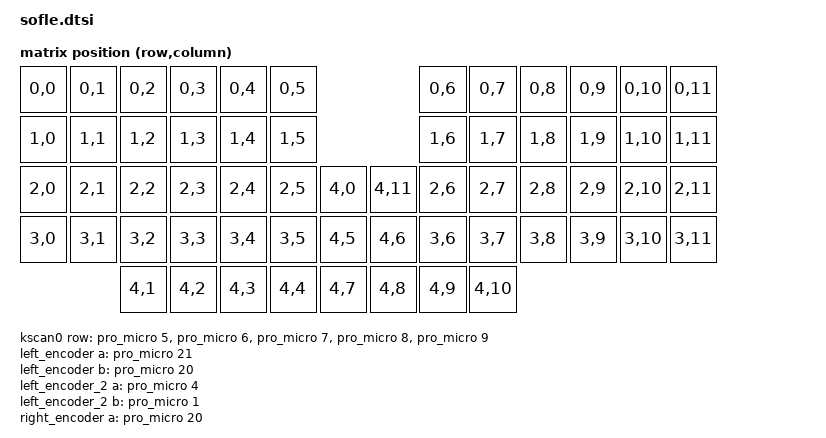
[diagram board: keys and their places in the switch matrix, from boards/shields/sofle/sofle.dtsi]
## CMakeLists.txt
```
cmake_minimum_required(VERSION 3.13.1)

set(CONFIG_APPLICATION_DEFINED_SYSCALL true)

# Add our custom Zephyr module for drivers w/ syscalls, etc.
list(APPEND DTS_ROOT ${CMAKE_SOURCE_DIR}/drivers/zephyr)

set(ZephyrBuildConfiguration_ROOT ${CMAKE_SOURCE_DIR}/cmake)

list(APPEND ZEPHYR_EXTRA_MODULES
  ${CMAKE_CURRENT_SOURCE_DIR}/drivers
)

# Find Zephyr. This also loads Zephyr's build system.
find_package(Zephyr REQUIRED HINTS ../zephyr)
project(zmk)

zephyr_linker_sources(RODATA include/linker/zmk-events.ld)

# Add your source file to the "app" target. This must come after
# find_package(Zephyr) which defines the target.
target_include_directories(app PRIVATE include)
target_sources(app PRIVATE src/stdlib.c)
target_sources(app PRIVATE src/activity.c)
target_sources(app PRIVATE src/kscan.c)
target_sources(app PRIVATE src/matrix_transform.c)
target_sources(app PRIVATE src/mouse/key_listener.c)
target_sources(app PRIVATE src/mouse/main.c)
target_sources(app PRIVATE src/mouse/tick_listener.c)
target_sources(app PRIVATE src/sensors.c)
target_sources_ifdef(CONFIG_ZMK_WPM app PRIVATE src/wpm.c)
target_sources(app PRIVATE src/event_manager.c)
target_sources_ifdef(CONFIG_ZMK_EXT_POWER app PRIVATE src/ext_power_generic.c)
target_sources(app PRIVATE src/events/activity_state_changed.c)
target_sources(app PRIVATE src/events/position_state_changed.c)
target_sources(app PRIVATE src/events/sensor_event.c)
target_sources(app PRIVATE src/events/mouse_button_state_changed.c)
target_sources(app PRIVATE src/events/mouse_move_state_changed.c)
target_sources(app PRIVATE src/events/mouse_tick.c)
target_sources(app PRIVATE src/events/mouse_scroll_state_changed.c)
target_sources_ifdef(CONFIG_ZMK_WPM app PRIVATE src/events/wpm_state_changed.c)
target_sources_ifdef(CONFIG_USB_DEVICE_STACK app PRIVATE src/events/usb_conn_state_changed.c)
target_sources(app PRIVATE src/behaviors/behavior_reset.c)
target_sources_ifdef(CONFIG_ZMK_EXT_POWER app PRIVATE src/behaviors/behavior_ext_power.c)
if ((NOT CONFIG_ZMK_SPLIT) OR CONFIG_ZMK_SPLIT_ROLE_CENTRAL)
  target_sources(app PRIVATE src/hid.c)
  target_sources(app PRIVATE src/behaviors/behavior_key_press.c)
  target_sources_ifdef(CONFIG_ZMK_BEHAVIOR_KEY_TOGGLE app PRIVATE src/behaviors/behavior_key_toggle.c)
  target_sources(app PRIVATE src/behaviors/behavior_hold_tap.c)
  target_sources(app PRIVATE src/behaviors/behavior_sticky_key.c)
  target_sources(app PRIVATE src/behaviors/behavior_caps_word.c)
  target_sources(app PRIVATE src/behaviors/behavior_key_repeat.c)
  target_sources(app PRIVATE src/behaviors/behavior_macro.c)
  target_sources(app PRIVATE src/behaviors/behavior_momentary_layer.c)
  target_sources(app PRIVATE src/behaviors/behavior_mod_morph.c)
  target_sources(app PRIVATE src/behaviors/behavior_outputs.c)
  target_sources(app PRIVATE src/behaviors/behavior_toggle_layer.c)
  target_sources(app PRIVATE src/behaviors/behavior_to_layer.c)
  target_sources(app PRIVATE src/behaviors/behavior_transparent.c)
  target_sources(app PRIVATE src/behaviors/behavior_none.c)
  target_sources_ifdef(CONFIG_ZMK_BEHAVIOR_SENSOR_ROTATE app PRIVATE src/behaviors/behavior_sensor_rotate.c)
  target_sources_ifdef(CONFIG_ZMK_BEHAVIOR_SENSOR_ROTATE_VAR app PRIVATE src/behaviors/behavior_sensor_rotate_var.c)
  target_sources_ifdef(CONFIG_ZMK_BEHAVIOR_SENSOR_ROTATE_COMMON app PRIVATE src/behaviors/behavior_sensor_rotate_common.c)
  target_sources(app PRIVATE src/behaviors/behavior_mouse_key_press.c)
  target_sources(app PRIVATE src/behaviors/behavior_mouse_move.c)
  target_sources(app PRIVATE src/behaviors/behavior_mouse_scroll.c)
  target_sources(app PRIVATE src/combo.c)
  target_sources(app PRIVATE src/behaviors/behavior_tap_dance.c)
  target_sources(app PRIVATE src/behavior_queue.c)
  target_sources(app PRIVATE src/conditional_layer.c)
  target_sources(app PRIVATE src/endpoints.c)
  target_sources(app PRIVATE src/events/endpoint_selection_changed.c)
  target_sources(app PRIVATE src/hid_listener.c)
  target_sources(app PRIVATE src/keymap.c)
  target_sources(app PRIVATE src/events/layer_state_changed.c)
  target_sources(app PRIVATE src/events/modifiers_state_changed.c)
  target_sources(app PRIVATE src/events/keycode_state_changed.c)

  if (CONFIG_ZMK_BLE)
    target_sources(app PRIVATE src/events/ble_active_profile_changed.c)
    target_sources(app PRIVATE src/behaviors/behavior_bt.c)
    target_sources(app PRIVATE src/ble.c)
    target_sources(app PRIVATE src/hog.c)
  endif()
endif()

target_sources_ifdef(CONFIG_ZMK_RGB_UNDERGLOW app PRIVATE src/behaviors/behavior_rgb_underglow.c)
target_sources_ifdef(CONFIG_ZMK_BACKLIGHT app PRIVATE src/behaviors/behavior_backlight.c)

target_sources_ifdef(CONFIG_ZMK_BLE app PRIVATE src/events/battery_state_changed.c)
target_sources_ifdef(CONFIG_ZMK_BLE app PRIVATE src/battery.c)

target_sources_ifdef(CONFIG_ZMK_SPLIT app PRIVATE src/events/split_peripheral_status_changed.c)
add_subdirectory(src/split)

target_sources_ifdef(CONFIG_USB_DEVICE_STACK app PRIVATE src/usb.c)
target_sources_ifdef(CONFIG_ZMK_USB app PRIVATE src/usb_hid.c)
target_sources_ifdef(CONFIG_ZMK_RGB_UNDERGLOW app PRIVATE src/rgb_underglow.c)
target_sources_ifdef(CONFIG_ZMK_BACKLIGHT app PRIVATE src/backlight.c)
target_sources(app PRIVATE src/main.c)

add_subdirectory(src/display/)

zephyr_cc_option(-Wfatal-errors)
```

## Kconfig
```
# Copyright (c) 2020 The ZMK Contributors
# SPDX-License-Identifier: MIT

mainmenu "ZMK Firmware"

menu "ZMK"

menu "Basic Keyboard Setup"

config ZMK_KEYBOARD_NAME
    string "Keyboard Name"

config USB_DEVICE_PRODUCT
    default ZMK_KEYBOARD_NAME

config BT_DEVICE_NAME
    default ZMK_KEYBOARD_NAME

config USB_DEVICE_VID
    default 0x1D50

config USB_DEVICE_PID
    default 0x615E

config USB_DEVICE_MANUFACTURER
    default "ZMK Project"

config BT_DIS_PNP_VID
    default 0x1D50

config BT_DIS_PNP_PID
    default 0x615E

config BT_DIS_MODEL
    default ZMK_KEYBOARD_NAME

config BT_DIS_MANUF
    default "ZMK Project"

# Hardware specific overrides

if SOC_SERIES_NRF52X

# Default on for our usage until boards implement retained bootmode.
config NRF_STORE_REBOOT_TYPE_GPREGRET
    bool
    default y

endif

menu "HID"

choice ZMK_HID_REPORT_TYPE
    prompt "HID Report Type"

config ZMK_HID_REPORT_TYPE_HKRO
    bool "#-Key Roll Over (HKRO) HID Report"
    help
      Enable # key roll over for HID report. This selection is "boot keyboard" compatible
      but limits the total number of possible keys to report as held to #.

config ZMK_HID_REPORT_TYPE_NKRO
    bool "Full N-Key Roll Over (NKRO) HID Report"
    help
      Enable full N-Key Roll Over for HID output. This selection will prevent the keyboard
      from working with some BIOS/UEFI versions that only support "boot keyboard" support.
      This option also prevents using some infrequently used higher range HID usages (notably F13-F24 and INTL1-9)
      These usages can be re enabled with ZMK_HID_KEYBOARD_NKRO_EXTENDED_REPORT.

endchoice

config ZMK_HID_KEYBOARD_NKRO_EXTENDED_REPORT
    bool "Enable extended NKRO reporting"
    depends on ZMK_HID_REPORT_TYPE_NKRO
    help
      Enables higher usage range for NKRO (F13-F24 and INTL1-9).
      Please note this is not compatible with Android currently and you will get no input


if ZMK_HID_REPORT_TYPE_HKRO

config ZMK_HID_KEYBOARD_REPORT_SIZE
    int "# Keyboard Keys Reportable"
    default 6

endif

config ZMK_HID_CONSUMER_REPORT_SIZE
    int "# Consumer Keys Reportable"
    default 6


choice ZMK_HID_CONSUMER_REPORT_USAGES
    prompt "HID Report Type"

config ZMK_HID_CONSUMER_REPORT_USAGES_FULL
    bool "Full Consumer HID Usage Support"
    help
      Enable full Consumer usage ID values to be sent to hosts. Allows for less
      frequently used usages, but has compatibability issues with some host OSes.

config ZMK_HID_CONSUMER_REPORT_USAGES_BASIC
    bool "Basic Consumer HID Usage Support"
    help
      Enable Consumer usage ID values up to "Playback Speed - Slow" to be sent to
      hosts. Allows for broader compatibability with more host OSes.

endchoice

config ZMK_HID_INDICATORS
    bool "HID Indicators"
    help
      Enable HID indicators, used for detecting state of Caps/Scroll/Num Lock,
      Kata, and Compose.

menu "Output Types"

config ZMK_USB
    bool "USB"
    depends on (!ZMK_SPLIT || (ZMK_SPLIT && ZMK_SPLIT_ROLE_CENTRAL))
    select USB
    select USB_DEVICE_STACK
    select USB_DEVICE_HID

config ZMK_USB_BOOT
    bool "USB Boot Protocol Support"
    depends on ZMK_USB
    select USB_HID_BOOT_PROTOCOL
    select USB_DEVICE_SOF

if ZMK_USB

config USB_NUMOF_EP_WRITE_RETRIES
    default 10

config USB_HID_POLL_INTERVAL_MS
    default 1

#ZMK_USB
endif

menuconfig ZMK_BLE
    bool "BLE (HID over GATT)"
    select BT
    select BT_SMP
    select BT_SMP_SC_PAIR_ONLY
    select BT_SMP_APP_PAIRING_ACCEPT
    select BT_PERIPHERAL
    select BT_DIS
    imply BT_SETTINGS if !ARCH_POSIX
    imply SETTINGS if !ARCH_POSIX
    imply ZMK_BATTERY_REPORTING if !ARCH_POSIX

if ZMK_BLE

config ZMK_BLE_EXPERIMENTAL_CONN
    bool "Experimental BLE connection changes"
    help
      Enables a combination of settings that are planned to be default in future versions of ZMK
      to improve connection stability. This includes changes to timing on BLE pairing initation,
      restores use of the updated/new LLCP implementation, and disables 2M PHY support.

config ZMK_BLE_EXPERIMENTAL_SEC
    bool "Experimental BLE security changes"
    imply BT_SMP_ALLOW_UNAUTH_OVERWRITE
    help
      Enables a combination of settings that are planned to be officially supported in the future.
      This includes enabling BT Secure Connection passkey entry, and allows overwrite of keys from
      previously paired hosts.

config ZMK_BLE_EXPERIMENTAL_FEATURES
    bool "Experimental BLE connection and security settings/features"
    select ZMK_BLE_EXPERIMENTAL_CONN
    select ZMK_BLE_EXPERIMENTAL_SEC
    help
      Enables experimental connection changes and security features.

config ZMK_BLE_PASSKEY_ENTRY
    bool "Require passkey entry on the keyboard to complete pairing"
    select RING_BUFFER

config BT_SMP_ALLOW_UNAUTH_OVERWRITE
    imply ZMK_BLE_PASSKEY_ENTRY

config BT_CTLR_PHY_2M
    default n if ZMK_BLE_EXPERIMENTAL_CONN

# BT_TINYCRYPT_ECC is required for BT_SMP_SC_PAIR_ONLY when using HCI
config BT_TINYCRYPT_ECC
    default y if BT_HCI && !BT_CTLR

config SYSTEM_WORKQUEUE_STACK_SIZE
    default 4096 if SOC_RP2040
    default 2048

config ZMK_BLE_THREAD_STACK_SIZE
    int "BLE notify thread stack size"
    default 768

config ZMK_BLE_THREAD_PRIORITY
    int "BLE notify thread priority"
    default 5

config ZMK_BLE_KEYBOARD_REPORT_QUEUE_SIZE
    int "Max number of keyboard HID reports to queue for sending over BLE"
    default 20

config ZMK_BLE_CONSUMER_REPORT_QUEUE_SIZE
    int "Max number of consumer HID reports to queue for sending over BLE"
    default 5

config ZMK_BLE_MOUSE_REPORT_QUEUE_SIZE
    int "Max number of mouse HID reports to queue for sending over BLE"
    default 20

config ZMK_BLE_CLEAR_BONDS_ON_START
    bool "Configuration that clears all bond information from the keyboard on startup."

# HID GATT notifications sent this way are *not* picked up by Linux, and possibly others.
config BT_GATT_NOTIFY_MULTIPLE
    default n

config BT_GATT_AUTO_SEC_REQ
    default (ZMK_SPLIT_BLE && !ZMK_SPLIT_ROLE_CENTRAL)

config BT_DEVICE_APPEARANCE
    default 961

config BT_PERIPHERAL_PREF_MIN_INT
    default 6

config BT_PERIPHERAL_PREF_MAX_INT
    default 12

config BT_PERIPHERAL_PREF_LATENCY
    default 30

config BT_PERIPHERAL_PREF_TIMEOUT
    default 400

#ZMK_BLE
endif

#Output Types
endmenu

# HID
endmenu

rsource "src/split/Kconfig"

#Basic Keyboard Setup
endmenu

menu "Display/LED Options"

rsource "src/display/Kconfig"

menuconfig ZMK_RGB_UNDERGLOW
    bool "RGB Adressable LED Underglow"
    select LED_STRIP
    select ZMK_LOW_PRIORITY_WORK_QUEUE

if ZMK_RGB_UNDERGLOW

# This default value cuts down on tons of excess .conf files, if you're using GPIO, manually disable this
config SPI
    default y

config ZMK_RGB_UNDERGLOW_EXT_POWER
    bool "RGB underglow toggling also controls external power"
    default y

config ZMK_RGB_UNDERGLOW_BRT_MIN
    int "RGB underglow minimum brightness in percent"
    range 0 100
    default 0

config ZMK_RGB_UNDERGLOW_BRT_MAX
    int "RGB underglow maximum brightness in percent"
    range ZMK_RGB_UNDERGLOW_BRT_MIN 100
    default 100

config ZMK_RGB_UNDERGLOW_HUE_STEP
    int "RGB underglow hue step in degrees"
    range 0 359
    default 10

config ZMK_RGB_UNDERGLOW_SAT_STEP
    int "RGB underglow saturation step in percent"
    range 0 100
    default 10

config ZMK_RGB_UNDERGLOW_BRT_STEP
    int "RGB underglow brightness step in percent"
    range 0 100
    default 10

config ZMK_RGB_UNDERGLOW_HUE_START
    int "RGB underglow start hue value in degrees"
    range 0 359
    default 0

config ZMK_RGB_UNDERGLOW_SAT_START
    int "RGB underglow start saturations value in percent"
    range 0 100
    default 100

config ZMK_RGB_UNDERGLOW_BRT_START
    int "RGB underglow start brightness value in percent"
    range ZMK_RGB_UNDERGLOW_BRT_MIN ZMK_RGB_UNDERGLOW_BRT_MAX
    default ZMK_RGB_UNDERGLOW_BRT_MAX

config ZMK_RGB_UNDERGLOW_SPD_START
    int "RGB underglow start animation speed value"
    range 1 5
    default 3

config ZMK_RGB_UNDERGLOW_EFF_START
    int "RGB underglow start effect int value related to the effect enum list"
    range 0 3
    default 0

config ZMK_RGB_UNDERGLOW_ON_START
    bool "RGB underglow starts on by default"
    default y

config ZMK_RGB_UNDERGLOW_AUTO_OFF_IDLE
    bool "Turn off RGB underglow when keyboard goes into idle state"

config ZMK_RGB_UNDERGLOW_AUTO_OFF_USB
    bool "Turn off RGB underglow when USB is disconnected"
    depends on USB_DEVICE_STACK

#ZMK_RGB_UNDERGLOW
endif

menuconfig ZMK_BACKLIGHT
    bool "LED backlight"
    select LED

if ZMK_BACKLIGHT

config ZMK_BACKLIGHT_BRT_STEP
    int "Brightness step in percent"
    range 1 100
    default 20

config ZMK_BACKLIGHT_BRT_START
    int "Default brightness in percent"
    range 1 100
    default 40

config ZMK_BACKLIGHT_ON_START
    bool "Default backlight state"
    default y

config ZMK_BACKLIGHT_AUTO_OFF_IDLE
    bool "Turn off backlight when keyboard goes into idle state"

config ZMK_BACKLIGHT_AUTO_OFF_USB
    bool "Turn off backlight when USB is disconnected"

#ZMK_BACKLIGHT
endif

#Display/LED Options
endmenu

rsource "src/mouse/Kconfig"

menu "Power Management"

config ZMK_BATTERY_REPORTING
    bool "Battery level detection/reporting"
    select SENSOR
    select ZMK_LOW_PRIORITY_WORK_QUEUE
    imply BT_BAS if ZMK_BLE

if ZMK_BATTERY_REPORTING

choice ZMK_BATTERY_REPORTING_FETCH_MODE
    prompt "Battery Reporting Fetch Mode"

config ZMK_BATTERY_REPORTING_FETCH_MODE_STATE_OF_CHARGE
    bool "State of charge"

config ZMK_BATTERY_REPORTING_FETCH_MODE_LITHIUM_VOLTAGE
    bool "Lithium Voltage"

endchoice
endif

config ZMK_IDLE_TIMEOUT
    int "Milliseconds of inactivity before entering idle state (OLED shutoff, etc)"
    default 30000

config ZMK_SLEEP
    bool "Enable deep sleep support"
    depends on HAS_POWEROFF
    select POWEROFF
    select ZMK_PM_DEVICE_SUSPEND_RESUME
    imply USB

if ZMK_SLEEP

config PM_DEVICE
    default y

config ZMK_IDLE_SLEEP_TIMEOUT
    int "Milliseconds of inactivity before entering deep sleep"
    default 900000

#ZMK_SLEEP
endif

config ZMK_SLEEP_ON_BLE_DISCONNECT
    bool "Enable deep sleep on BLE disconnection"
    depends on ZMK_SLEEP 

if ZMK_SLEEP_ON_BLE_DISCONNECT

config ZMK_SLEEP_DISCONNECT_TIMER
    int "Milliseconds of disconnection before entering deep sleep"
    default 600000

# ZMK_SLEEP_ON_BLE_DISCONNECT
endif

config ZMK_EXT_POWER
    bool "Enable support to control external power output"
    default y

config ZMK_PM
    bool

config ZMK_PM_DEVICE_SUSPEND_RESUME
    bool
    select ZMK_PM

config ZMK_PM_SOFT_OFF
    bool "Soft-off support"
    depends on HAS_POWEROFF
    select ZMK_PM
    select PM_DEVICE
    select ZMK_PM_DEVICE_SUSPEND_RESUME
    select POWEROFF

config ZMK_GPIO_KEY_WAKEUP_TRIGGER
    bool "Hardware supported wakeup (GPIO)"
    default y
    depends on DT_HAS_ZMK_GPIO_KEY_WAKEUP_TRIGGER_ENABLED && ZMK_PM_SOFT_OFF

#Power Management
endmenu

menu "Combo options"

config ZMK_COMBO_MAX_PRESSED_COMBOS
    int "Maximum number of currently pressed combos"
    default 4

config ZMK_COMBO_MAX_COMBOS_PER_KEY
    int "Maximum number of combos per key"
    default 5

config ZMK_COMBO_MAX_KEYS_PER_COMBO
    int "Maximum number of keys per combo"
    default 4

#Combo options
endmenu

menu "Behavior Options"

config ZMK_BEHAVIORS_QUEUE_SIZE
    int "Maximum number of behaviors to allow queueing from a macro or other complex behavior"
    default 64

rsource "Kconfig.behaviors"

config ZMK_MACRO_DEFAULT_WAIT_MS
    int "Default time to wait (in milliseconds) before triggering the next behavior in macros"
    default 15

config ZMK_MACRO_DEFAULT_TAP_MS
    int "Default time to wait (in milliseconds) between the press and release events of a tapped behavior in macros"
    default 30

endmenu

menu "Advanced"

menu "Initialization Priorities"

if USB_DEVICE_STACK

config ZMK_USB_INIT_PRIORITY
    int "USB Init Priority"
    default 50

#USB
endif

if ZMK_BLE || ZMK_SPLIT_BLE

config ZMK_BLE_INIT_PRIORITY
    int "BLE Init Priority"
    default 50

#ZMK_BLE || ZMK_SPLIT_BLE
endif

#Initialization Priorities
endmenu

menuconfig ZMK_KSCAN
    bool "ZMK KScan Integration"
    default y
    select KSCAN

if ZMK_KSCAN

config ZMK_KSCAN_EVENT_QUEUE_SIZE
    int "Size of the event queue for KSCAN events to buffer events"
    default 4

endif # ZMK_KSCAN

config ZMK_KSCAN_SIDEBAND_BEHAVIORS
    bool
    default y
    depends on DT_HAS_ZMK_KSCAN_SIDEBAND_BEHAVIORS_ENABLED
    select KSCAN

if ZMK_KSCAN_SIDEBAND_BEHAVIORS

config ZMK_KSCAN_SIDEBAND_BEHAVIORS_INIT_PRIORITY
    int "Keyboard scan sideband behaviors driver init priority"
    # The default kscan init priority is 90, so be sure we are initialized later.
    default 95

endif # ZMK_KSCAN_SIDEBAND_BEHAVIORS

menu "Logging"

config ZMK_LOGGING_MINIMAL
    bool "Suppress all ZMK debug log messages"
    default false

if !ZMK_LOGGING_MINIMAL

config ZMK_LOG_LEVEL
    default 4

endif

config ZMK_USB_LOGGING
    bool "Enable USB CDC ACM logging to help debug"
    select LOG
    select USB
    select USB_DEVICE_STACK
    select USB_CDC_ACM
    select SERIAL
    select CONSOLE
    select UART_INTERRUPT_DRIVEN
    select UART_LINE_CTRL
    select UART_CONSOLE
    select USB_UART_CONSOLE

if ZMK_USB_LOGGING

choice USB_CDC_ACM_LOG_LEVEL_CHOICE
    default USB_CDC_ACM_LOG_LEVEL_OFF
endchoice

choice USB_DRIVER_LOG_LEVEL_CHOICE
    default USB_DRIVER_LOG_LEVEL_OFF
endchoice

# We do this to avoid log loop where logging to USB generates more log messages.

config USB_CDC_ACM_RINGBUF_SIZE
    default 1024

config LOG_PROCESS_THREAD_STARTUP_DELAY_MS
    default 1000

#ZMK_USB_LOGGING
endif

config ZMK_RTT_LOGGING
    bool "Enable RTT logging to help debug"
    select LOG
    select DEBUG
    select ASSERT
    select USE_SEGGER_RTT
    select CONSOLE
    select RTT_CONSOLE

if ZMK_RTT_LOGGING

config SEGGER_RTT_BUFFER_SIZE_UP
    default 8192

#ZMK_RTT_LOGGING
endif

if ZMK_USB_LOGGING || ZMK_RTT_LOGGING

config LOG_BUFFER_SIZE
    default 8192

config LOG_PROCESS_THREAD_SLEEP_MS
    default 100

#ZMK_USB_LOGGING || ZMK_RTT_LOGGING
endif

#Logging
endmenu

if SETTINGS

config ZMK_SETTINGS_RESET_ON_START
    bool "Delete all persistent settings when the keyboard boots"

if ZMK_SETTINGS_RESET_ON_START

config ZMK_SETTINGS_RESET_ON_START_INIT_PRIORITY
    int "Settings Reset ON Start Initialization Priority"
    default 60
    help
      Initialization priority for the settings reset on start. Must be lower priority/
      higher value than FLASH_INIT_PRIORITY if using the NVS/Flash settings backend.


endif


config ZMK_SETTINGS_SAVE_DEBOUNCE
    int "Milliseconds to debounce settings saves"
    default 60000

#SETTINGS
endif

config ZMK_BATTERY_REPORT_INTERVAL
    depends on ZMK_BATTERY_REPORTING
    int "Battery level report interval in seconds"
    default 60

config ZMK_LOW_PRIORITY_WORK_QUEUE
    bool "Work queue for low priority items"

if ZMK_LOW_PRIORITY_WORK_QUEUE

config ZMK_LOW_PRIORITY_THREAD_STACK_SIZE
    int "Low priority thread stack size"
    default 768

config ZMK_LOW_PRIORITY_THREAD_PRIORITY
    int "Low priority thread priority"
    default 10

endif

#Advanced
endmenu

#ZMK
endmenu

config KERNEL_BIN_NAME
    default "zmk"

config REBOOT
    default y

config USB_DEVICE_STACK
    default y if HAS_HW_NRF_USBD

config FPU
    default CPU_HAS_FPU

config ZMK_WPM
    bool "Calculate WPM"

config ZMK_KEYMAP_SENSORS
    bool "Enable Keymap Sensors support"
    default y
    depends on DT_HAS_ZMK_KEYMAP_SENSORS_ENABLED
    select SENSOR

if ZMK_KEYMAP_SENSORS

config ZMK_KEYMAP_SENSORS_DEFAULT_TRIGGERS_PER_ROTATION
    int "Default triggers per rotation"
    help
      Unless overridden for a sensor in the board/shield/devicetree, this value
      determines how many times to trigger the bound behavior per full rotation.
      For tactile encoders with detents, this usually should match the number of
      detents per rotation of the encoder.
    default 20

endif # ZMK_KEYMAP_SENSORS

choice CBPRINTF_IMPLEMENTATION
    default CBPRINTF_NANO

endchoice

module = ZMK
module-str = zmk
source "subsys/logging/Kconfig.template.log_config"

rsource "boards/Kconfig"
rsource "boards/shields/*/Kconfig.defconfig"
rsource "boards/shields/*/Kconfig.shield"

osource "$(ZMK_CONFIG)/boards/shields/*/Kconfig.defconfig"
osource "$(ZMK_CONFIG)/boards/shields/*/Kconfig.shield"


source "Kconfig.zephyr"
```

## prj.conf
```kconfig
#CONFIG_ZMK_USB_LOGGING=y
```

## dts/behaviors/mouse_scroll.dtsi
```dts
/ {
	behaviors {
		/omit-if-no-ref/ mwh: msc: behavior_mouse_scroll {
			compatible = "zmk,behavior-mouse-scroll";
			label = "MOUSE_SCROLL";
			#binding-cells = <1>;
			delay-ms = <200>;
			time-to-max-speed-ms = <300>;
			acceleration-exponent = <0>;
		};
	};
};
```

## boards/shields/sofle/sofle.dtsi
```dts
/*
 * Copyright (c) 2020 Pete Johanson, Ryan Cross
 *
 * SPDX-License-Identifier: MIT
 */

#include <dt-bindings/zmk/matrix_transform.h>

/ {
    chosen {
        zephyr,display = &oled;
        zmk,kscan = &kscan0;
        zmk,matrix_transform = &default_transform;
        zmk,left_encoder_3 = &left_encoder_3;
        zmk,left_encoder_4 = &left_encoder_4;
        zmk,right_encoder_3 = &right_encoder_3;
        zmk,right_encoder_4 = &right_encoder_4;
    };

    default_transform: keymap_transform_0 {
        compatible = "zmk,matrix-transform";
        columns = <16>;
        rows = <4>;
// | SW6  | SW5  | SW4  | SW3  | SW2  | SW1  |                 | SW1  | SW2  | SW3  | SW4  | SW5  | SW6  |
// | SW12 | SW11 | SW10 | SW9  | SW8  | SW7  |                 | SW7  | SW8  | SW9  | SW10 | SW11 | SW12 |
// | SW18 | SW17 | SW16 | SW15 | SW14 | SW13 |                 | SW13 | SW14 | SW15 | SW16 | SW17 | SW18 |
// | SW24 | SW23 | SW22 | SW21 | SW20 | SW19 | SW25 |   | SW25 | SW19 | SW20 | SW21 | SW22 | SW23 | SW24 |
//               | SW30 | SW29 | SW28 | SW27 | SW26 |   | SW26 | SW27 | SW28 | SW29 | SW30 |
        map = <
RC(0,0) RC(0,1) RC(0,2) RC(0,3) RC(0,4) RC(0,5)                  RC(0,6) RC(0,7) RC(0,8)  RC(0,9) RC(0,10) RC(0,11)
RC(1,0) RC(1,1) RC(1,2) RC(1,3) RC(1,4) RC(1,5)                  RC(1,6) RC(1,7) RC(1,8)  RC(1,9) RC(1,10) RC(1,11)
RC(2,0) RC(2,1) RC(2,2) RC(2,3) RC(2,4) RC(2,5) RC(4,0) RC(4,11) RC(2,6) RC(2,7) RC(2,8)  RC(2,9) RC(2,10) RC(2,11)
RC(3,0) RC(3,1) RC(3,2) RC(3,3) RC(3,4) RC(3,5) RC(4,5) RC(4,6)  RC(3,6) RC(3,7) RC(3,8)  RC(3,9) RC(3,10) RC(3,11)
                RC(4,1) RC(4,2) RC(4,3) RC(4,4) RC(4,7) RC(4,8)  RC(4,9) RC(4,10) 
        >;
    };

    kscan0: kscan {
        compatible = "zmk,kscan-gpio-matrix";
        label = "KSCAN";

        diode-direction = "col2row";
        row-gpios
            = <&pro_micro 5 (GPIO_ACTIVE_HIGH | GPIO_PULL_DOWN)>
            , <&pro_micro 6 (GPIO_ACTIVE_HIGH | GPIO_PULL_DOWN)>
            , <&pro_micro 7 (GPIO_ACTIVE_HIGH | GPIO_PULL_DOWN)>
            , <&pro_micro 8 (GPIO_ACTIVE_HIGH | GPIO_PULL_DOWN)>
            , <&pro_micro 9 (GPIO_ACTIVE_HIGH | GPIO_PULL_DOWN)>
            ;
    };

    left_encoder: encoder_left {
        compatible = "alps,ec11";
        label = "LEFT_ENCODER";
        a-gpios = <&pro_micro 21 (GPIO_ACTIVE_HIGH | GPIO_PULL_UP)>;
        b-gpios = <&pro_micro 20 (GPIO_ACTIVE_HIGH | GPIO_PULL_UP)>;
        resolution = <4>;
        status = "disabled";
    };

    left_encoder_2: encoder_left_2 {
        compatible = "alps,ec11";
        label = "LEFT_ENCODER_2";
        a-gpios = <&pro_micro 4 (GPIO_ACTIVE_HIGH | GPIO_PULL_UP)>;
        b-gpios = <&pro_micro 1 (GPIO_ACTIVE_HIGH | GPIO_PULL_UP)>;
        resolution = <4>;
        status = "disabled";
    };

    right_encoder: encoder_right {
        compatible = "alps,ec11";
        label = "RIGHT_ENCODER";
        a-gpios = <&pro_micro 20 (GPIO_ACTIVE_HIGH | GPIO_PULL_UP)>;
        b-gpios = <&pro_micro 21 (GPIO_ACTIVE_HIGH | GPIO_PULL_UP)>;
        resolution = <4>;
        status = "disabled";
    };

    right_encoder_2: encoder_right_2 {
        compatible = "alps,ec11";
        label = "RIGHT_ENCODER_2";
        a-gpios = <&pro_micro 4 (GPIO_ACTIVE_HIGH | GPIO_PULL_UP)>;
        b-gpios = <&pro_micro 1 (GPIO_ACTIVE_HIGH | GPIO_PULL_UP)>;
        resolution = <4>;
        status = "disabled";
    };

    left_encoder_3: encoder_left_3 {
        compatible = "alps,ec12";
        label = "LEFT_ENCODER_3";
        a-gpios = <&pro_micro 21 (GPIO_ACTIVE_HIGH | GPIO_PULL_UP)>;
        b-gpios = <&pro_micro 20 (GPIO_ACTIVE_HIGH | GPIO_PULL_UP)>;
        resolution = <4>;
        status = "okay";
    };

    left_encoder_4: encoder_left_4 {
        compatible = "alps,ec12";
        label = "LEFT_ENCODER_4";
        a-gpios = <&pro_micro 4 (GPIO_ACTIVE_HIGH | GPIO_PULL_UP)>;
        b-gpios = <&pro_micro 1 (GPIO_ACTIVE_HIGH | GPIO_PULL_UP)>;
        resolution = <4>;
        status = "okay";
    };

    right_encoder_3: encoder_right_3 {
        compatible = "alps,ec12";
        label = "RIGHT_ENCODER_3";
        a-gpios = <&pro_micro 20 (GPIO_ACTIVE_HIGH | GPIO_PULL_UP)>;
        b-gpios = <&pro_micro 21 (GPIO_ACTIVE_HIGH | GPIO_PULL_UP)>;
        resolution = <4>;
        status = "okay";
    };

    right_encoder_4: encoder_right_4 {
        compatible = "alps,ec12";
        label = "RIGHT_ENCODER_4";
        a-gpios = <&pro_micro 4 (GPIO_ACTIVE_HIGH | GPIO_PULL_UP)>;
        b-gpios = <&pro_micro 1 (GPIO_ACTIVE_HIGH | GPIO_PULL_UP)>;
        resolution = <4>;
        status = "okay";
    };

    sensors {
        compatible = "zmk,keymap-sensors";
        sensors = <&left_encoder &left_encoder_2 &right_encoder &right_encoder_2>;
    };
};

&pro_micro_i2c {
    status = "okay";

    oled: ssd1306@3c {
        compatible = "solomon,ssd1306fb";
        reg = <0x3c>;
        label = "DISPLAY";
        width = <128>;
        height = <32>;
        segment-offset = <0>;
        page-offset = <0>;
        display-offset = <0>;
        multiplex-ratio = <31>;
        segment-remap;
        com-invdir;
        com-sequential;
        prechargep = <0x22>;
    };
};
```

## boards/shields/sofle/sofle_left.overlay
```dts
/*
 * Copyright (c) 2020 Ryan Cross
 *
 * SPDX-License-Identifier: MIT
 */

#include "sofle.dtsi"

&kscan0 {
    col-gpios
        = <&pro_micro 19 GPIO_ACTIVE_HIGH>
        , <&pro_micro 18 GPIO_ACTIVE_HIGH>
        , <&pro_micro 15 GPIO_ACTIVE_HIGH>
        , <&pro_micro 14 GPIO_ACTIVE_HIGH>
        , <&pro_micro 16 GPIO_ACTIVE_HIGH>
        , <&pro_micro 10 GPIO_ACTIVE_HIGH>
        ;
};

&left_encoder {
    status = "okay";
};

&left_encoder_2 {
    status = "okay";
};

&left_encoder_3 {
    status = "okay";
};

&left_encoder_4 {
    status = "okay";
};
```

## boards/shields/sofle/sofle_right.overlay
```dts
/*
 * Copyright (c) 2020 Ryan Cross
 *
 * SPDX-License-Identifier: MIT
 */

#include "sofle.dtsi"

&default_transform {
    col-offset = <6>;
};

&kscan0 {
    col-gpios
        = <&pro_micro 10 GPIO_ACTIVE_HIGH>
        , <&pro_micro 16 GPIO_ACTIVE_HIGH>
        , <&pro_micro 14 GPIO_ACTIVE_HIGH>
        , <&pro_micro 15 GPIO_ACTIVE_HIGH>
        , <&pro_micro 18 GPIO_ACTIVE_HIGH>
        , <&pro_micro 19 GPIO_ACTIVE_HIGH>
        ;
};

&right_encoder {
    status = "okay";
};

&right_encoder_2 {
    status = "okay";
};

&right_encoder_3 {
    status = "okay";
};

&right_encoder_4 {
    status = "okay";
};
```

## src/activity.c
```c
/*
 * Copyright (c) 2020 The ZMK Contributors
 *
 * SPDX-License-Identifier: MIT
 */

#include "zephyr/sys/util_macro.h"
#include <zephyr/device.h>
#include <zephyr/init.h>
#include <zephyr/kernel.h>
#include <zephyr/sys/poweroff.h>
#include <zmk/ble.h>
#include <zmk/split/bluetooth/peripheral.h>

#include <zephyr/logging/log.h>

LOG_MODULE_DECLARE(zmk, CONFIG_ZMK_LOG_LEVEL);

#include <zmk/event_manager.h>
#include <zmk/events/activity_state_changed.h>
#include <zmk/events/position_state_changed.h>
#include <zmk/events/sensor_event.h>

#include <zmk/pm.h>

#include <zmk/activity.h>

#if IS_ENABLED(CONFIG_USB_DEVICE_STACK)
#include <zmk/usb.h>
#endif

#if IS_ENABLED(CONFIG_ZMK_SLEEP_ON_BLE_DISCONNECT)
#define MAX_DISCONNECT_MS CONFIG_ZMK_SLEEP_DISCONNECT_TIMER

static uint32_t ble_last_time_connected;

static uint32_t get_latest_ble_connection_active_timestamp(void) {
#if ZMK_BLE_IS_CENTRAL || !IS_ENABLED(CONFIG_ZMK_SPLIT)
    if (zmk_ble_active_profile_is_connected()) {
        ble_last_time_connected = k_uptime_get();
    }
    return ble_last_time_connected;
#elif IS_SPLIT_PERIPHERAL
    if (zmk_split_bt_peripheral_is_connected()) {
        ble_last_time_connected = k_uptime_get();
    }
    return ble_last_time_connected;
#endif
}
#endif

bool is_usb_power_present(void) {
#if IS_ENABLED(CONFIG_USB_DEVICE_STACK)
    return zmk_usb_is_powered();
#else
    return false;
#endif /* IS_ENABLED(CONFIG_USB_DEVICE_STACK) */
}

static enum zmk_activity_state activity_state;

static uint32_t activity_last_uptime;

#define MAX_IDLE_MS CONFIG_ZMK_IDLE_TIMEOUT

#if IS_ENABLED(CONFIG_ZMK_SLEEP)
#define MAX_SLEEP_MS CONFIG_ZMK_IDLE_SLEEP_TIMEOUT
#endif

int raise_event(void) {
    return raise_zmk_activity_state_changed(
        (struct zmk_activity_state_changed){.state = activity_state});
}

int set_state(enum zmk_activity_state state) {
    if (activity_state == state)
        return 0;

    activity_state = state;
    return raise_event();
}

enum zmk_activity_state zmk_activity_get_state(void) { return activity_state; }

int activity_event_listener(const zmk_event_t *eh) {
    activity_last_uptime = k_uptime_get();

    return set_state(ZMK_ACTIVITY_ACTIVE);
}

void activity_work_handler(struct k_work *work) {
    int32_t current = k_uptime_get();
    int32_t inactive_time = current - activity_last_uptime;
#if IS_ENABLED(CONFIG_ZMK_SLEEP)
    if ((inactive_time > MAX_SLEEP_MS && !is_usb_power_present()) 
#if IS_ENABLED(CONFIG_ZMK_SLEEP_ON_BLE_DISCONNECT)
        || (((current - get_latest_ble_connection_active_timestamp()) > MAX_DISCONNECT_MS) && !is_usb_power_present())
#endif
    ) {
        // Put devices in suspend power mode before sleeping
        set_state(ZMK_ACTIVITY_SLEEP);

        if (zmk_pm_suspend_devices() < 0) {
            LOG_ERR("Failed to suspend all the devices");
            zmk_pm_resume_devices();
            return;
        }

        sys_poweroff();
    } else
#endif /* IS_ENABLED(CONFIG_ZMK_SLEEP) */
        if (inactive_time > MAX_IDLE_MS) {
            set_state(ZMK_ACTIVITY_IDLE);
        }
}

K_WORK_DEFINE(activity_work, activity_work_handler);

void activity_expiry_function(struct k_timer *_timer) { k_work_submit(&activity_work); }

K_TIMER_DEFINE(activity_timer, activity_expiry_function, NULL);

static int activity_init(void) {
    activity_last_uptime = k_uptime_get();

    k_timer_start(&activity_timer, K_SECONDS(1), K_SECONDS(1));
    return 0;
}

ZMK_LISTENER(activity, activity_event_listener);
ZMK_SUBSCRIPTION(activity, zmk_position_state_changed);
ZMK_SUBSCRIPTION(activity, zmk_sensor_event);

SYS_INIT(activity_init, APPLICATION, CONFIG_APPLICATION_INIT_PRIORITY);
```

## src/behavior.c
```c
/*
 * Copyright (c) 2023 The ZMK Contributors
 *
 * SPDX-License-Identifier: MIT
 */

#include <zephyr/device.h>
#include <zephyr/init.h>
#include <zephyr/sys/crc.h>
#include <zephyr/sys/util_macro.h>
#include <string.h>

#if IS_ENABLED(CONFIG_ZMK_BEHAVIOR_LOCAL_IDS) &&                                                   \
    IS_ENABLED(CONFIG_ZMK_BEHAVIOR_LOCAL_ID_TYPE_SETTINGS_TABLE)

#include <zephyr/settings/settings.h>

#endif

#include <drivers/behavior.h>
#include <zmk/behavior.h>
#include <zmk/hid.h>
#include <zmk/matrix.h>

#include <zephyr/logging/log.h>
LOG_MODULE_DECLARE(zmk, CONFIG_ZMK_LOG_LEVEL);

const struct device *zmk_behavior_get_binding(const char *name) {
    return behavior_get_binding(name);
}

const struct device *z_impl_behavior_get_binding(const char *name) {
    if (name == NULL || name[0] == '\0') {
        return NULL;
    }

    STRUCT_SECTION_FOREACH(zmk_behavior_ref, item) {
        if (z_device_is_ready(item->device) && item->device->name == name) {
            return item->device;
        }
    }

    STRUCT_SECTION_FOREACH(zmk_behavior_ref, item) {
        if (z_device_is_ready(item->device) && strcmp(item->device->name, name) == 0) {
            return item->device;
        }
    }

    return NULL;
}

#if IS_ENABLED(CONFIG_ZMK_BEHAVIOR_METADATA)

int zmk_behavior_get_empty_param_metadata(const struct device *dev,
                                          struct behavior_parameter_metadata *metadata) {
    metadata->sets_len = 0;
    return 0;
}

#endif // IS_ENABLED(CONFIG_ZMK_BEHAVIOR_METADATA)

#if IS_ENABLED(CONFIG_ZMK_BEHAVIOR_METADATA)
static int validate_hid_usage(uint16_t usage_page, uint16_t usage_id) {
    LOG_DBG("Validate usage %d in page %d", usage_id, usage_page);
    switch (usage_page) {
    case HID_USAGE_KEY:
        if (usage_id == 0 || (usage_id > ZMK_HID_KEYBOARD_NKRO_MAX_USAGE &&
                              usage_id < LEFT_CONTROL && usage_id > RIGHT_GUI)) {
            return -EINVAL;
        }
        break;
    case HID_USAGE_CONSUMER:
        if (usage_id >
            COND_CODE_1(IS_ENABLED(CONFIG_ZMK_HID_CONSUMER_REPORT_USAGES_BASIC), (0xFF), (0xFFF))) {
            return -EINVAL;
        }
        break;
    default:
        LOG_WRN("Unsupported HID usage page %d", usage_page);
        return -EINVAL;
    }

    return 0;
}

int zmk_behavior_validate_param_values(const struct behavior_parameter_value_metadata *values,
                                       size_t values_len, uint32_t param) {
    bool found_match = false;

    if (values_len == 0) {
        return -ENODEV;
    }

    for (int v = 0; v < values_len; v++) {
        const struct behavior_parameter_value_metadata *value_meta = &values[v];

        switch (value_meta->type) {
        case BEHAVIOR_PARAMETER_VALUE_TYPE_NIL:
            if (param == 0) {
                found_match = true;
            }
            break;
        case BEHAVIOR_PARAMETER_VALUE_TYPE_HID_USAGE:
            if (validate_hid_usage(ZMK_HID_USAGE_PAGE(param), ZMK_HID_USAGE_ID(param)) >= 0) {
                found_match = true;
            }

            break;
        case BEHAVIOR_PARAMETER_VALUE_TYPE_LAYER_INDEX:
            if (param >= 0 && param < ZMK_KEYMAP_LEN) {
                found_match = true;
            }
            break;
            /* TODO: Restore with HSV -> RGB refactor
            case BEHAVIOR_PARAMETER_STANDARD_DOMAIN_HSV:
                // TODO: No real way to validate? Maybe max brightness?
                break;
            */
        case BEHAVIOR_PARAMETER_VALUE_TYPE_VALUE:
            if (param == value_meta->value) {
                found_match = true;
            }
            break;
        case BEHAVIOR_PARAMETER_VALUE_TYPE_RANGE:
            if (param >= value_meta->range.min && param <= value_meta->range.max) {
                found_match = true;
            }
            break;
        }

        if (found_match) {
            break;
        }
    }

    return found_match ? 0 : -ENOTSUP;
}

int zmk_behavior_validate_params_metadata(const struct behavior_parameter_metadata *metadata,
                                          uint32_t param1, uint32_t param2) {
    if (!metadata || metadata->sets_len == 0) {
        if (!metadata) {
            LOG_ERR("No metadata to check against");
        }

        return (param1 == 0 && param2 == 0) ? 0 : -ENODEV;
    }

    for (int s = 0; s < metadata->sets_len; s++) {
        const struct behavior_parameter_metadata_set *set = &metadata->sets[s];
        int param1_ret =
            zmk_behavior_validate_param_values(set->param1_values, set->param1_values_len, param1);
        int param2_ret =
            zmk_behavior_validate_param_values(set->param2_values, set->param2_values_len, param2);

        if ((param1_ret >= 0 || (param1_ret == -ENODEV && param1 == 0)) &&
            (param2_ret >= 0 || (param2_ret == -ENODEV && param2 == 0))) {
            LOG_DBG("ALL GOOD!");
            return 0;
        }
    }

    return -EINVAL;
}

#endif // IS_ENABLED(CONFIG_ZMK_BEHAVIOR_METADATA)

int zmk_behavior_validate_binding(const struct zmk_behavior_binding *binding) {
#if IS_ENABLED(CONFIG_ZMK_BEHAVIOR_METADATA)
    const struct device *behavior = zmk_behavior_get_binding(binding->behavior_dev);

    if (!behavior) {
        return -ENODEV;
    }

    struct behavior_parameter_metadata metadata;
    int ret = behavior_get_parameter_metadata(behavior, &metadata);

    if (ret < 0) {
        LOG_WRN("Failed getting metadata for %s: %d", binding->behavior_dev, ret);
        return ret;
    }

    return zmk_behavior_validate_params_metadata(&metadata, binding->param1, binding->param2);
#else
    return 0;
#endif // IS_ENABLED(CONFIG_ZMK_BEHAVIOR_METADATA)
}

#if IS_ENABLED(CONFIG_ZMK_BEHAVIOR_LOCAL_IDS)

zmk_behavior_local_id_t zmk_behavior_get_local_id(const char *name) {
    STRUCT_SECTION_FOREACH(zmk_behavior_local_id_map, item) {
        if (z_device_is_ready(item->device) && strcmp(item->device->name, name) == 0) {
            return item->local_id;
        }
    }

    return UINT16_MAX;
}

const char *zmk_behavior_find_behavior_name_from_local_id(zmk_behavior_local_id_t local_id) {
    STRUCT_SECTION_FOREACH(zmk_behavior_local_id_map, item) {
        if (z_device_is_ready(item->device) && item->local_id == local_id) {
            return item->device->name;
        }
    }

    return NULL;
}

#if IS_ENABLED(CONFIG_ZMK_BEHAVIOR_LOCAL_ID_TYPE_CRC16)

static int behavior_local_id_init(void) {
    STRUCT_SECTION_FOREACH(zmk_behavior_local_id_map, item) {
        item->local_id = crc16_ansi(item->device->name, strlen(item->device->name));
    }

    return 0;
}

#elif IS_ENABLED(CONFIG_ZMK_BEHAVIOR_LOCAL_ID_TYPE_SETTINGS_TABLE)

static zmk_behavior_local_id_t largest_local_id = 0;

static int behavior_handle_set(const char *name, size_t len, settings_read_cb read_cb,
                               void *cb_arg) {
    const char *next;

    LOG_DBG("Setting Behavior setting %s", name);

    if (settings_name_steq(name, "local_id", &next) && next) {
        char *endptr;
        uint8_t local_id = strtoul(next, &endptr, 10);
        if (*endptr != '\0') {
            LOG_WRN("Invalid behavior local ID: %s with endptr %s", next, endptr);
            return -EINVAL;
        }

        if (len >= 64) {
            LOG_ERR("Too large binding setting size (got %d expected less than %d)", len, 64);
            return -EINVAL;
        }

        char name[len + 1];

        int err = read_cb(cb_arg, name, len);
        if (err <= 0) {
            LOG_ERR("Failed to handle keymap binding from settings (err %d)", err);
            return err;
        }

        name[len] = '\0';
        STRUCT_SECTION_FOREACH(zmk_behavior_local_id_map, item) {
            if (strcmp(name, item->device->name) == 0) {
                item->local_id = local_id;
                largest_local_id = MAX(largest_local_id, local_id);
                return 0;
            }
        }

        return -EINVAL;
    }

    return 0;
}

static int behavior_handle_commit(void) {
    LOG_DBG("COMMIT!");
    STRUCT_SECTION_FOREACH(zmk_behavior_local_id_map, item) {
        if (item->local_id != 0) {
            LOG_DBG("Has existing id %d", item->local_id);
            continue;
        }

        // TODO: Store it!
        item->local_id = ++largest_local_id;
        LOG_DBG("Generating an ID %d", item->local_id);
        char setting_name[32];
        sprintf(setting_name, "behavior/local_id/%d", item->local_id);
        settings_save_one(setting_name, item->device->name, strlen(item->device->name));
    }

    return 0;
}

SETTINGS_STATIC_HANDLER_DEFINE(behavior, "behavior", NULL, behavior_handle_set,
                               behavior_handle_commit, NULL);

static int behavior_local_id_init(void) {
    settings_load_subtree("behavior");

    return 0;
}

#else

#error "A behavior local ID mechanism must be selected"

#endif

SYS_INIT(behavior_local_id_init, APPLICATION, CONFIG_APPLICATION_INIT_PRIORITY);

#endif

#if IS_ENABLED(CONFIG_LOG)
static int check_behavior_names(void) {
    // Behavior names must be unique, but we don't have a good way to enforce this
    // at compile time, so log an error at runtime if they aren't unique.
    ptrdiff_t count;
    STRUCT_SECTION_COUNT(zmk_behavior_ref, &count);

    for (ptrdiff_t i = 0; i < count; i++) {
        const struct zmk_behavior_ref *current;
        STRUCT_SECTION_GET(zmk_behavior_ref, i, &current);

        for (ptrdiff_t j = i + 1; j < count; j++) {
            const struct zmk_behavior_ref *other;
            STRUCT_SECTION_GET(zmk_behavior_ref, j, &other);

            if (strcmp(current->device->name, other->device->name) == 0) {
                LOG_ERR("Multiple behaviors have the same name '%s'", current->device->name);
            }
        }
    }

    return 0;
}

SYS_INIT(check_behavior_names, APPLICATION, CONFIG_APPLICATION_INIT_PRIORITY);
#endif // IS_ENABLED(CONFIG_LOG)
```

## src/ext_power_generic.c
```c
/*
 * Copyright (c) 2020 The ZMK Contributors
 *
 * SPDX-License-Identifier: MIT
 */

#define DT_DRV_COMPAT zmk_ext_power_generic

#include <stdio.h>
#include <zephyr/device.h>
#include <zephyr/pm/device.h>
#include <zephyr/init.h>
#include <zephyr/kernel.h>
#include <zephyr/settings/settings.h>
#include <zephyr/drivers/gpio.h>

#include <drivers/ext_power.h>
#include <zmk/activity.h>

#if DT_HAS_COMPAT_STATUS_OKAY(DT_DRV_COMPAT)

#include <zephyr/logging/log.h>
LOG_MODULE_DECLARE(zmk, CONFIG_ZMK_LOG_LEVEL);

struct ext_power_generic_config {
    const struct gpio_dt_spec control;
    const uint16_t init_delay_ms;
};

struct ext_power_generic_data {
    bool status;
#if IS_ENABLED(CONFIG_SETTINGS)
    bool settings_init;
#endif
};

#if IS_ENABLED(CONFIG_SETTINGS)
static void ext_power_save_state_work(struct k_work *work) {
    char setting_path[40];
    const struct device *ext_power = DEVICE_DT_GET(DT_DRV_INST(0));
    struct ext_power_generic_data *data = ext_power->data;

    snprintf(setting_path, 40, "ext_power/state/%s", DT_INST_PROP(0, label));
    settings_save_one(setting_path, &data->status, sizeof(data->status));
}

static struct k_work_delayable ext_power_save_work;
#endif

int ext_power_save_state() {
#if IS_ENABLED(CONFIG_SETTINGS)
    int ret = k_work_reschedule(&ext_power_save_work, K_MSEC(CONFIG_ZMK_SETTINGS_SAVE_DEBOUNCE));
    return MIN(ret, 0);
#else
    return 0;
#endif
}

static int ext_power_generic_enable(const struct device *dev) {
    struct ext_power_generic_data *data = dev->data;
    const struct ext_power_generic_config *config = dev->config;

    enable_encoder_all();

    if (gpio_pin_set_dt(&config->control, 1)) {
        LOG_WRN("Failed to set ext-power control pin");
        return -EIO;
    }
    data->status = true;
    return ext_power_save_state();
}

static int ext_power_generic_disable(const struct device *dev) {
    struct ext_power_generic_data *data = dev->data;
    const struct ext_power_generic_config *config = dev->config;

    disable_encoder_all_force();

    if (gpio_pin_set_dt(&config->control, 0)) {
        LOG_WRN("Failed to set ext-power control pin");
        LOG_WRN("Failed to clear ext-power control pin");
        return -EIO;
    }
    data->status = false;
    return ext_power_save_state();
}

static int ext_power_generic_get(const struct device *dev) {
    struct ext_power_generic_data *data = dev->data;
    return data->status;
}

#if IS_ENABLED(CONFIG_SETTINGS)
static int ext_power_settings_set(const char *name, size_t len, settings_read_cb read_cb,
                                  void *cb_arg) {
    const char *next;
    int rc;

    if (settings_name_steq(name, DT_INST_PROP(0, label), &next) && !next) {
        const struct device *ext_power = DEVICE_DT_GET(DT_DRV_INST(0));
        struct ext_power_generic_data *data = ext_power->data;

        if (len != sizeof(data->status)) {
            return -EINVAL;
        }

        rc = read_cb(cb_arg, &data->status, sizeof(data->status));
        if (rc >= 0) {
            data->settings_init = true;

            if (ext_power == NULL) {
                LOG_ERR("Unable to retrieve ext_power device: %s", DT_INST_PROP(0, label));
                return -EIO;
            }

            if (data->status) {
                ext_power_generic_enable(ext_power);
            } else {
                ext_power_generic_disable(ext_power);
            }

            return 0;
        }
        return rc;
    }
    return -ENOENT;
}

struct settings_handler ext_power_conf = {.name = "ext_power/state",
                                          .h_set = ext_power_settings_set};
#endif

static int ext_power_generic_init(const struct device *dev) {
    struct ext_power_generic_data *data = dev->data;
    const struct ext_power_generic_config *config = dev->config;

    if (gpio_pin_configure_dt(&config->control, GPIO_OUTPUT_INACTIVE)) {
        LOG_ERR("Failed to configure ext-power control pin");
        return -EIO;
    }

#if IS_ENABLED(CONFIG_SETTINGS)
    settings_subsys_init();

    int err = settings_register(&ext_power_conf);
    if (err) {
        LOG_ERR("Failed to register the ext_power settings handler (err %d)", err);
        return err;
    }

    k_work_init_delayable(&ext_power_save_work, ext_power_save_state_work);

    // Set default value (on) if settings isn't set
    settings_load_subtree("ext_power");
    if (!data->settings_init) {

        data->status = true;
        k_work_schedule(&ext_power_save_work, K_NO_WAIT);

        ext_power_enable(dev);
    }
#else
    // Default to the ext_power being open when no settings
    ext_power_enable(dev);
#endif

    if (config->init_delay_ms) {
        k_msleep(config->init_delay_ms);
    }

    return 0;
}

#ifdef CONFIG_PM_DEVICE
static int ext_power_generic_pm_action(const struct device *dev, enum pm_device_action action) {
    switch (action) {
    case PM_DEVICE_ACTION_RESUME:
        ext_power_generic_enable(dev);
        return 0;
    case PM_DEVICE_ACTION_SUSPEND:
        ext_power_generic_disable(dev);
        return 0;
    default:
        return -ENOTSUP;
    }
}
#endif /* CONFIG_PM_DEVICE */

static const struct ext_power_generic_config config = {
    .control = GPIO_DT_SPEC_INST_GET(0, control_gpios),
    .init_delay_ms = DT_INST_PROP_OR(0, init_delay_ms, 0)};

static struct ext_power_generic_data data = {
    .status = false,
#if IS_ENABLED(CONFIG_SETTINGS)
    .settings_init = false,
#endif
};

static const struct ext_power_api api = {.enable = ext_power_generic_enable,
                                         .disable = ext_power_generic_disable,
                                         .get = ext_power_generic_get};

#define ZMK_EXT_POWER_INIT_PRIORITY 81

PM_DEVICE_DT_INST_DEFINE(0, ext_power_generic_pm_action);
DEVICE_DT_INST_DEFINE(0, ext_power_generic_init, PM_DEVICE_DT_INST_GET(0), &data, &config,
                      POST_KERNEL, ZMK_EXT_POWER_INIT_PRIORITY, &api);

#endif /* DT_HAS_COMPAT_STATUS_OKAY(DT_DRV_COMPAT) */
```
